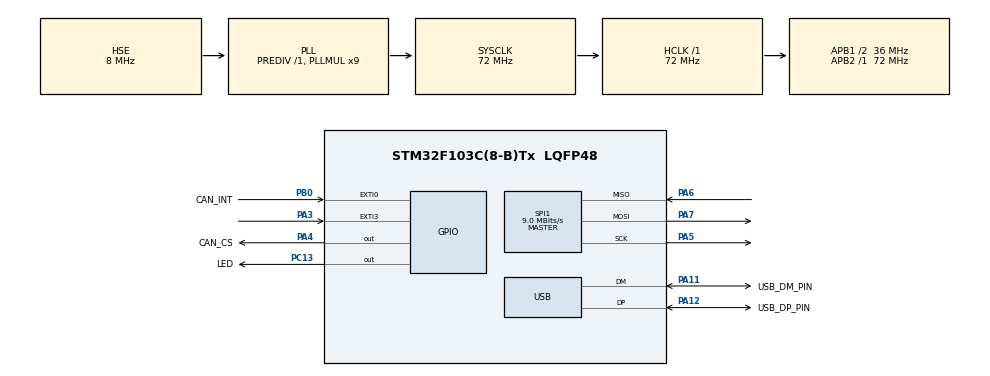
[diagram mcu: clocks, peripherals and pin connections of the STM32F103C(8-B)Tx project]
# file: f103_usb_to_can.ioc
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Mcu.Family=STM32F1
Mcu.Name=STM32F103C(8-B)Tx
Mcu.Package=LQFP48
NVIC.EXTI0_IRQn=true\:0\:0\:false\:false\:true\:true\:true\:true
NVIC.EXTI3_IRQn=true\:0\:0\:false\:false\:true\:true\:true\:true
NVIC.PriorityGroup=NVIC_PRIORITYGROUP_4
NVIC.SPI1_IRQn=true\:0\:0\:false\:false\:true\:true\:true\:true
NVIC.USB_LP_CAN1_RX0_IRQn=true\:0\:0\:false\:false\:true\:false\:true\:true
PA11.GPIO_Label=USB_DM_PIN
PA11.Mode=Device
PA11.Signal=USB_DM
PA12.GPIO_Label=USB_DP_PIN
PA12.Mode=Device
PA12.Signal=USB_DP
PA13.Mode=Serial_Wire
PA13.Signal=SYS_JTMS-SWDIO
PA14.Mode=Serial_Wire
PA14.Signal=SYS_JTCK-SWCLK
PA3.GPIO_ModeDefaultEXTI=GPIO_MODE_IT_FALLING
PA3.Signal=GPXTI3
PA4.GPIO_Label=CAN_CS
PA4.Signal=GPIO_Output
PA5.Mode=Full_Duplex_Master
PA5.Signal=SPI1_SCK
PA6.Mode=Full_Duplex_Master
PA6.Signal=SPI1_MISO
PA7.Mode=Full_Duplex_Master
PA7.Signal=SPI1_MOSI
PB0.GPIO_Label=CAN_INT
PB0.GPIO_ModeDefaultEXTI=GPIO_MODE_IT_FALLING
PB0.Signal=GPXTI0
PC13-TAMPER-RTC.GPIO_Label=LED
PC13-TAMPER-RTC.Signal=GPIO_Output
PD0-OSC_IN.Mode=HSE-External-Oscillator
PD0-OSC_IN.Signal=RCC_OSC_IN
PD1-OSC_OUT.Mode=HSE-External-Oscillator
PD1-OSC_OUT.Signal=RCC_OSC_OUT
ProjectManager.HeapSize=0x200
ProjectManager.StackSize=0x400
ProjectManager.TargetToolchain=STM32CubeIDE
RCC.AHBFreq_Value=72000000
RCC.APB1CLKDivider=RCC_HCLK_DIV2
RCC.APB1Freq_Value=36000000
RCC.APB1TimFreq_Value=72000000
RCC.APB2Freq_Value=72000000
RCC.APB2TimFreq_Value=72000000
RCC.HCLKFreq_Value=72000000
RCC.PLLMUL=RCC_PLL_MUL9
RCC.PLLSourceVirtual=RCC_PLLSOURCE_HSE
RCC.SYSCLKFreq_VALUE=72000000
RCC.SYSCLKSource=RCC_SYSCLKSOURCE_PLLCLK
RCC.USBFreq_Value=48000000
RCC.USBPrescaler=RCC_USBCLKSOURCE_PLL_DIV1_5
SPI1.BaudRatePrescaler=SPI_BAUDRATEPRESCALER_8
SPI1.CalculateBaudRate=9.0 MBits/s
SPI1.Direction=SPI_DIRECTION_2LINES
SPI1.Mode=SPI_MODE_MASTER
SPI1.VirtualType=VM_MASTER
USB_DEVICE.CLASS_NAME_FS=CDC
USB_DEVICE.VirtualMode=Cdc
USB_DEVICE.VirtualModeFS=Cdc_FS
VP_USB_DEVICE_VS_USB_DEVICE_CDC_FS.Mode=CDC_FS
board=custom

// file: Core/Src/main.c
/* USER CODE BEGIN Header */
/**
  ******************************************************************************
  * @file           : main.c
  * @brief          : Main program body
  ******************************************************************************
  * @attention
  *
  * Copyright (c) 2023 STMicroelectronics.
  * All rights reserved.
  *
  * This software is licensed under terms that can be found in the LICENSE file
  * in the root directory of this software component.
  * If no LICENSE file comes with this software, it is provided AS-IS.
  *
  ******************************************************************************
  */
/* USER CODE END Header */
#include "main.h"
#include "usb_device.h"

/* USER CODE BEGIN Includes */
#include "usbd_cdc_if.h"
#include "usbd_cdc.h"
#include "CANSPI.h"
#include "MCP2515.h"
#include <stdio.h>
/* USER CODE END Includes */

SPI_HandleTypeDef hspi1;

/* USER CODE BEGIN PV */
uCAN_MSG txMessage;
uCAN_MSG rxMessage;
uint8_t rec_buffer[64];
/* USER CODE END PV */

void SystemClock_Config(void);
static void MX_GPIO_Init(void);
static void MX_SPI1_Init(void);
/* USER CODE BEGIN PFP */
static void Reset_USB(void);
void convertToHex(unsigned char value, char* hexString, size_t size);
void convert32ToHex(uint32_t value, char* hexString, size_t size);

uint8_t convertToU8(const char* hexString, size_t NumberOfCharacters);
uint32_t convertToU32(const char* hexString, size_t NumberOfCharacters) ;
/* USER CODE END PFP */

/* USER CODE BEGIN 0 */
USBD_HandleTypeDef USBD_Device;

uint8_t CDC_BUF[60];

void usb_rec_mcp_transmit(void)
{
	uint32_t id = 0;

	if (rec_buffer[1] == 'x')
	{
		id = convertToU32((const char*)rec_buffer, 10);
		if (id<=0x7FFU) {
			txMessage.frame.idType = dSTANDARD_CAN_MSG_ID_2_0B; //dEXTENDED_CAN_MSG_ID_2_0B
		} else {
			txMessage.frame.idType = dEXTENDED_CAN_MSG_ID_2_0B; //dEXTENDED_CAN_MSG_ID_2_0B
		}
		txMessage.frame.id = id;
		txMessage.frame.dlc = 	convertToU8((const char*)(rec_buffer+14), 2);
		txMessage.frame.data0 = convertToU8((const char*)(&(rec_buffer[19])), 2);
		txMessage.frame.data1 = convertToU8((const char*)(&(rec_buffer[24])), 2);
		txMessage.frame.data2 = convertToU8((const char*)(&(rec_buffer[29])), 2);
		txMessage.frame.data3 = convertToU8((const char*)(&(rec_buffer[34])), 2);
		txMessage.frame.data4 = convertToU8((const char*)(&(rec_buffer[39])), 2);
		txMessage.frame.data5 = convertToU8((const char*)(&(rec_buffer[44])), 2);
		txMessage.frame.data6 = convertToU8((const char*)(&(rec_buffer[49])), 2);
		txMessage.frame.data7 = convertToU8((const char*)(&(rec_buffer[54])), 2);
		CANSPI_Transmit(&txMessage);
		memset(rec_buffer,0,sizeof(rec_buffer));
	}
}

void mcp2515_RX0IE_callback(void)
{
	if(CANSPI_Receive(&rxMessage))
	{
		char id[11] = {0};
		char dlc[5] = {0};
		char data0[5] = {0};
		char data1[5] = {0};
		char data2[5] = {0};
		char data3[5] = {0};
		char data4[5] = {0};
		char data5[5] = {0};
		char data6[5] = {0};
		char data7[5] = {0};
		convert32ToHex(rxMessage.frame.id, id, 12);
		convertToHex(rxMessage.frame.dlc, dlc, 5);
		convertToHex(rxMessage.frame.data0,data0,5);
		convertToHex(rxMessage.frame.data1,data1,5);
		convertToHex(rxMessage.frame.data2,data2,5);
		convertToHex(rxMessage.frame.data3,data3,5);
		convertToHex(rxMessage.frame.data4,data4,5);
		convertToHex(rxMessage.frame.data5,data5,5);
		convertToHex(rxMessage.frame.data6,data6,5);
		convertToHex(rxMessage.frame.data7,data7,5);

		switch (rxMessage.frame.dlc) {
			case 0:
				sprintf((char*)CDC_BUF,"%s %s %s",id,dlc,"\n");
				break;
			case 1:
				sprintf((char*)CDC_BUF,"%s %s %s %s",id,dlc,data0,"\n");
				break;
			case 2:
				sprintf((char*)CDC_BUF,"%s %s %s %s %s",id,dlc,data0,data1,"\n");
				break;
			case 3:
				sprintf((char*)CDC_BUF,"%s %s %s %s %s %s",id,dlc,
						data0,
						data1,
						data2,
						"\n");
				break;
			case 4:
				sprintf((char*)CDC_BUF,"%s %s %s %s %s %s %s",id,dlc,
						data0,
						data1,
						data2,
						data3,
						"\n");
				break;
			case 5:
				sprintf((char*)CDC_BUF,"%s %s %s %s %s %s %s %s",id,dlc,
						data0,
						data1,
						data2,
						data3,
						data4,
						"\n");
				break;
			case 6:
				sprintf((char*)CDC_BUF,"%s %s %s %s %s %s %s %s %s",id,dlc,
						data0,
						data1,
						data2,
						data3,
						data4,
						data5,
						"\n");
				break;
			case 7:
				sprintf((char*)CDC_BUF,"%s %s %s %s %s %s %s %s %s %s",id,dlc,
						data0,
						data1,
						data2,
						data3,
						data4,
						data5,
						data6,
						"\n");
				break;
			case 8:
				sprintf((char*)CDC_BUF,"%s %s %s %s %s %s %s %s %s %s %s",id,dlc,
						data0,
						data1,
						data2,
						data3,
						data4,
						data5,
						data6,
						data7,
						"\n"
						);
				break;

			default:
				break;
		}

		CDC_Transmit_FS((uint8_t*)CDC_BUF, (uint16_t)(strlen((const char*)CDC_BUF)));
		memset(CDC_BUF,0,sizeof(CDC_BUF));

	}
}

void convert32ToHex(uint32_t value, char* hexString, size_t size) {
    snprintf(hexString, size, "0x%08lXh", value);
}
void convertToHex(unsigned char value, char* hexString, size_t size){
	snprintf(hexString, size, "0x%02X", value);
}
uint8_t convertToU8(const char* hexString, size_t NumberOfCharacters) {
    uint8_t value = 0;

    for (size_t i = 0; i < NumberOfCharacters; i++) {
        char c = hexString[i];

        if (c >= '0' && c <= '9') {
            value = (value << 4) + (c - '0');
        }
        else if (c >= 'A' && c <= 'F') {
            value = (value << 4) + (c - 'A' + 10);
        }
        else if (c >= 'a' && c <= 'f') {
            value = (value << 4) + (c - 'a' + 10);
        }
        else {
            // Handle error: Invalid character encountered
            // You can return a default value or handle the error as needed
            return 0;
        }
    }

    return value;
}
uint32_t convertToU32(const char* hexString, size_t NumberOfCharacters) {
	uint32_t value = 0;

	    // Skip the "0x" prefix if present
	    if (NumberOfCharacters >= 2 && hexString[0] == '0' && (hexString[1] == 'x' || hexString[1] == 'X')) {
	        hexString += 2;
	        NumberOfCharacters -= 2;
	    }

	    for (size_t i = 0; i < NumberOfCharacters; i++) {
	        char c = hexString[i];

	        if (c >= '0' && c <= '9') {
	            value = (value << 4) + (c - '0');
	        }
	        else if (c >= 'A' && c <= 'F') {
	            value = (value << 4) + (c - 'A' + 10);
	        }
	        else if (c >= 'a' && c <= 'f') {
	            value = (value << 4) + (c - 'a' + 10);
	        }
	        else {
	            // Handle error: Invalid character encountered
	            // You can return a default value or handle the error as needed
	            return 0;
	        }
	    }

	    return value;
}
/* USER CODE END 0 */

int main(void)
{

  /* MCU Configuration--------------------------------------------------------*/

  /* Reset of all peripherals, Initializes the Flash interface and the Systick. */
  HAL_Init();

  /* Configure the system clock */
  SystemClock_Config();

  /* USER CODE BEGIN SysInit */
  Reset_USB();
  /* USER CODE END SysInit */

  /* Initialize all configured peripherals */
  MX_GPIO_Init();
  MX_USB_DEVICE_Init();
  MX_SPI1_Init();
  /* USER CODE BEGIN 2 */
  CANSPI_Initialize();
  /* USER CODE END 2 */

  /* Infinite loop */
  /* USER CODE BEGIN WHILE */
  while (1)
  {
	  //CDC_Transmit_FS((uint8_t*)("heart beat\n"), 11);

	  //HAL_Delay(100);
	  usb_rec_mcp_transmit();
    /* USER CODE END WHILE */

  }
}

void SystemClock_Config(void)
{
  RCC_OscInitTypeDef RCC_OscInitStruct = {0};
  RCC_ClkInitTypeDef RCC_ClkInitStruct = {0};
  RCC_PeriphCLKInitTypeDef PeriphClkInit = {0};

  /** Initializes the RCC Oscillators according to the specified parameters
  * in the RCC_OscInitTypeDef structure.
  */
  RCC_OscInitStruct.OscillatorType = RCC_OSCILLATORTYPE_HSE;
  RCC_OscInitStruct.HSEState = RCC_HSE_ON;
  RCC_OscInitStruct.HSEPredivValue = RCC_HSE_PREDIV_DIV1;
  RCC_OscInitStruct.HSIState = RCC_HSI_ON;
  RCC_OscInitStruct.PLL.PLLState = RCC_PLL_ON;
  RCC_OscInitStruct.PLL.PLLSource = RCC_PLLSOURCE_HSE;
  RCC_OscInitStruct.PLL.PLLMUL = RCC_PLL_MUL9;
  if (HAL_RCC_OscConfig(&RCC_OscInitStruct) != HAL_OK)
  {
    Error_Handler();
  }

  /** Initializes the CPU, AHB and APB buses clocks
  */
  RCC_ClkInitStruct.ClockType = RCC_CLOCKTYPE_HCLK|RCC_CLOCKTYPE_SYSCLK
                              |RCC_CLOCKTYPE_PCLK1|RCC_CLOCKTYPE_PCLK2;
  RCC_ClkInitStruct.SYSCLKSource = RCC_SYSCLKSOURCE_PLLCLK;
  RCC_ClkInitStruct.AHBCLKDivider = RCC_SYSCLK_DIV1;
  RCC_ClkInitStruct.APB1CLKDivider = RCC_HCLK_DIV2;
  RCC_ClkInitStruct.APB2CLKDivider = RCC_HCLK_DIV1;

  if (HAL_RCC_ClockConfig(&RCC_ClkInitStruct, FLASH_LATENCY_2) != HAL_OK)
  {
    Error_Handler();
  }
  PeriphClkInit.PeriphClockSelection = RCC_PERIPHCLK_USB;
  PeriphClkInit.UsbClockSelection = RCC_USBCLKSOURCE_PLL_DIV1_5;
  if (HAL_RCCEx_PeriphCLKConfig(&PeriphClkInit) != HAL_OK)
  {
    Error_Handler();
  }
}

static void MX_SPI1_Init(void)
{

  /* SPI1 parameter configuration*/
  hspi1.Instance = SPI1;
  hspi1.Init.Mode = SPI_MODE_MASTER;
  hspi1.Init.Direction = SPI_DIRECTION_2LINES;
  hspi1.Init.DataSize = SPI_DATASIZE_8BIT;
  hspi1.Init.CLKPolarity = SPI_POLARITY_LOW;
  hspi1.Init.CLKPhase = SPI_PHASE_1EDGE;
  hspi1.Init.NSS = SPI_NSS_SOFT;
  hspi1.Init.BaudRatePrescaler = SPI_BAUDRATEPRESCALER_8;
  hspi1.Init.FirstBit = SPI_FIRSTBIT_MSB;
  hspi1.Init.TIMode = SPI_TIMODE_DISABLE;
  hspi1.Init.CRCCalculation = SPI_CRCCALCULATION_DISABLE;
  hspi1.Init.CRCPolynomial = 10;
  if (HAL_SPI_Init(&hspi1) != HAL_OK)
  {
    Error_Handler();
  }

}

static void MX_GPIO_Init(void)
{
  GPIO_InitTypeDef GPIO_InitStruct = {0};

  /* GPIO Ports Clock Enable */
  __HAL_RCC_GPIOC_CLK_ENABLE();
  __HAL_RCC_GPIOD_CLK_ENABLE();
  __HAL_RCC_GPIOA_CLK_ENABLE();
  __HAL_RCC_GPIOB_CLK_ENABLE();

  /*Configure GPIO pin Output Level */
  HAL_GPIO_WritePin(LED_GPIO_Port, LED_Pin, GPIO_PIN_RESET);

  /*Configure GPIO pin Output Level */
  HAL_GPIO_WritePin(CAN_CS_GPIO_Port, CAN_CS_Pin, GPIO_PIN_RESET);

  /*Configure GPIO pin : LED_Pin */
  GPIO_InitStruct.Pin = LED_Pin;
  GPIO_InitStruct.Mode = GPIO_MODE_OUTPUT_PP;
  GPIO_InitStruct.Pull = GPIO_NOPULL;
  GPIO_InitStruct.Speed = GPIO_SPEED_FREQ_LOW;
  HAL_GPIO_Init(LED_GPIO_Port, &GPIO_InitStruct);

  /*Configure GPIO pin : PA3 */
  GPIO_InitStruct.Pin = GPIO_PIN_3;
  GPIO_InitStruct.Mode = GPIO_MODE_IT_FALLING;
  GPIO_InitStruct.Pull = GPIO_NOPULL;
  HAL_GPIO_Init(GPIOA, &GPIO_InitStruct);

  /*Configure GPIO pin : CAN_CS_Pin */
  GPIO_InitStruct.Pin = CAN_CS_Pin;
  GPIO_InitStruct.Mode = GPIO_MODE_OUTPUT_PP;
  GPIO_InitStruct.Pull = GPIO_NOPULL;
  GPIO_InitStruct.Speed = GPIO_SPEED_FREQ_LOW;
  HAL_GPIO_Init(CAN_CS_GPIO_Port, &GPIO_InitStruct);

  /*Configure GPIO pin : CAN_INT_Pin */
  GPIO_InitStruct.Pin = CAN_INT_Pin;
  GPIO_InitStruct.Mode = GPIO_MODE_IT_FALLING;
  GPIO_InitStruct.Pull = GPIO_NOPULL;
  HAL_GPIO_Init(CAN_INT_GPIO_Port, &GPIO_InitStruct);

  /* EXTI interrupt init*/
  HAL_NVIC_SetPriority(EXTI0_IRQn, 0, 0);
  HAL_NVIC_EnableIRQ(EXTI0_IRQn);

  HAL_NVIC_SetPriority(EXTI3_IRQn, 0, 0);
  HAL_NVIC_EnableIRQ(EXTI3_IRQn);

}

/* USER CODE BEGIN 4 */
static void Reset_USB(void)
{
	__HAL_RCC_GPIOA_CLK_ENABLE();
	GPIO_InitTypeDef GPIO_InitStruct = {0};
	  /*Configure GPIO pin : LED_Pin */

	  GPIO_InitStruct.Pin = USB_DP_PIN_Pin;
	  GPIO_InitStruct.Mode = GPIO_MODE_OUTPUT_PP;
	  GPIO_InitStruct.Pull = GPIO_NOPULL;
	  GPIO_InitStruct.Speed = GPIO_SPEED_FREQ_HIGH;
	  HAL_GPIO_Init(USB_DP_PIN_GPIO_Port, &GPIO_InitStruct);
	  HAL_GPIO_WritePin(USB_DP_PIN_GPIO_Port, USB_DP_PIN_Pin, 0);
	  HAL_Delay(5);
	  HAL_GPIO_WritePin(USB_DP_PIN_GPIO_Port, USB_DP_PIN_Pin, 1);
}
/* USER CODE END 4 */

void Error_Handler(void)
{
  __disable_irq();
  while (1)
  {
  }
}
